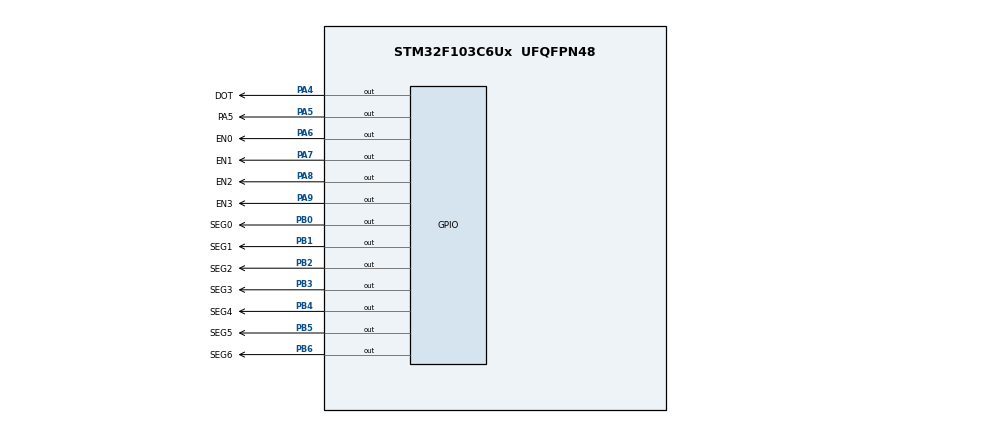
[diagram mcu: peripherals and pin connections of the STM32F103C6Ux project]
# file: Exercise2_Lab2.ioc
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Mcu.Family=STM32F1
Mcu.Name=STM32F103C6Ux
Mcu.Package=UFQFPN48
NVIC.PriorityGroup=NVIC_PRIORITYGROUP_4
NVIC.TIM2_IRQn=true\:0\:0\:false\:false\:true\:true\:true
PA4.GPIO_Label=DOT
PA4.Signal=GPIO_Output
PA5.GPIO_Label=PA5
PA5.Signal=GPIO_Output
PA6.GPIO_Label=EN0
PA6.Signal=GPIO_Output
PA7.GPIO_Label=EN1
PA7.Signal=GPIO_Output
PA8.GPIO_Label=EN2
PA8.Signal=GPIO_Output
PA9.GPIO_Label=EN3
PA9.Signal=GPIO_Output
PB0.GPIO_Label=SEG0
PB0.Signal=GPIO_Output
PB0.Stacked=true
PB1.GPIO_Label=SEG1
PB1.Signal=GPIO_Output
PB2.GPIO_Label=SEG2
PB2.Signal=GPIO_Output
PB3.GPIO_Label=SEG3
PB3.Signal=GPIO_Output
PB4.GPIO_Label=SEG4
PB4.Signal=GPIO_Output
PB5.GPIO_Label=SEG5
PB5.Signal=GPIO_Output
PB6.GPIO_Label=SEG6
PB6.Signal=GPIO_Output
ProjectManager.HeapSize=0x200
ProjectManager.StackSize=0x400
ProjectManager.TargetToolchain=STM32CubeIDE
RCC.APB1Freq_Value=8000000
RCC.APB2Freq_Value=8000000
TIM2.Period=10
TIM2.Prescaler=7999
VP_SYS_VS_ND.Mode=No_Debug
VP_TIM2_VS_ClockSourceINT.Mode=Internal
board=custom

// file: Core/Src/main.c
/* USER CODE BEGIN Header */
/**
  ******************************************************************************
  * @file           : main.c
  * @brief          : Main program body
  ******************************************************************************
  * @attention
  *
  * <h2><center>&copy; Copyright (c) 2022 STMicroelectronics.
  * All rights reserved.</center></h2>
  *
  * This software component is licensed by ST under BSD 3-Clause license,
  * the "License"; You may not use this file except in compliance with the
  * License. You may obtain a copy of the License at:
  *                        opensource.org/licenses/BSD-3-Clause
  *
  ******************************************************************************
  */
/* USER CODE END Header */
#include "main.h"

TIM_HandleTypeDef htim2;

void SystemClock_Config(void);
static void MX_GPIO_Init(void);
static void MX_TIM2_Init(void);

/* USER CODE BEGIN 0 */
void display7SEG(int num, GPIO_TypeDef* GPIOx, uint16_t start_index){
	__IO uint16_t temp;
	switch(num){
	case 0:
		temp = 0b1000000;
		break;
	case 1:
		temp = 0b1111001;
		break;
	case 2:
		temp = 0b0100100;
		break;
	case 3:
		temp = 0b0110000;
		break;
	case 4:
		temp = 0b0011001;
		break;
	case 5:
		temp = 0b0010010;
		break;
	case 6:
		temp = 0b0000010;
		break;
	case 7:
		temp = 0b1111000;
		break;
	case 8:
		temp = 0b0;
		break;
	case 9:
		temp = 0b0010000;
		break;
	default:
		temp = !0b0;
		break;
	}
	uint16_t bitmask = 0b1111111 << start_index ;
	GPIOx->ODR = (GPIOx->ODR & ~bitmask) | (temp << start_index);
}
/* USER CODE END 0 */

int main(void)
{

  /* MCU Configuration--------------------------------------------------------*/

  /* Reset of all peripherals, Initializes the Flash interface and the Systick. */
  HAL_Init();

  /* Configure the system clock */
  SystemClock_Config();

  /* Initialize all configured peripherals */
  MX_GPIO_Init();
  MX_TIM2_Init();
  /* USER CODE BEGIN 2 */
  	HAL_TIM_Base_Start_IT(&htim2);
    HAL_GPIO_TogglePin(GPIOA, EN1_Pin);
    HAL_GPIO_TogglePin(GPIOA, EN2_Pin);
    HAL_GPIO_TogglePin(GPIOA, EN3_Pin);
  /* USER CODE END 2 */

  /* Infinite loop */
  while (1)
  {

  }
}

void SystemClock_Config(void)
{
  RCC_OscInitTypeDef RCC_OscInitStruct = {0};
  RCC_ClkInitTypeDef RCC_ClkInitStruct = {0};

  /** Initializes the RCC Oscillators according to the specified parameters
  * in the RCC_OscInitTypeDef structure.
  */
  RCC_OscInitStruct.OscillatorType = RCC_OSCILLATORTYPE_HSI;
  RCC_OscInitStruct.HSIState = RCC_HSI_ON;
  RCC_OscInitStruct.HSICalibrationValue = RCC_HSICALIBRATION_DEFAULT;
  RCC_OscInitStruct.PLL.PLLState = RCC_PLL_NONE;
  if (HAL_RCC_OscConfig(&RCC_OscInitStruct) != HAL_OK)
  {
    Error_Handler();
  }
  /** Initializes the CPU, AHB and APB buses clocks
  */
  RCC_ClkInitStruct.ClockType = RCC_CLOCKTYPE_HCLK|RCC_CLOCKTYPE_SYSCLK
                              |RCC_CLOCKTYPE_PCLK1|RCC_CLOCKTYPE_PCLK2;
  RCC_ClkInitStruct.SYSCLKSource = RCC_SYSCLKSOURCE_HSI;
  RCC_ClkInitStruct.AHBCLKDivider = RCC_SYSCLK_DIV1;
  RCC_ClkInitStruct.APB1CLKDivider = RCC_HCLK_DIV1;
  RCC_ClkInitStruct.APB2CLKDivider = RCC_HCLK_DIV1;

  if (HAL_RCC_ClockConfig(&RCC_ClkInitStruct, FLASH_LATENCY_0) != HAL_OK)
  {
    Error_Handler();
  }
}

static void MX_TIM2_Init(void)
{

  TIM_ClockConfigTypeDef sClockSourceConfig = {0};
  TIM_MasterConfigTypeDef sMasterConfig = {0};

  htim2.Instance = TIM2;
  htim2.Init.Prescaler = 7999;
  htim2.Init.CounterMode = TIM_COUNTERMODE_UP;
  htim2.Init.Period = 10;
  htim2.Init.ClockDivision = TIM_CLOCKDIVISION_DIV1;
  htim2.Init.AutoReloadPreload = TIM_AUTORELOAD_PRELOAD_DISABLE;
  if (HAL_TIM_Base_Init(&htim2) != HAL_OK)
  {
    Error_Handler();
  }
  sClockSourceConfig.ClockSource = TIM_CLOCKSOURCE_INTERNAL;
  if (HAL_TIM_ConfigClockSource(&htim2, &sClockSourceConfig) != HAL_OK)
  {
    Error_Handler();
  }
  sMasterConfig.MasterOutputTrigger = TIM_TRGO_RESET;
  sMasterConfig.MasterSlaveMode = TIM_MASTERSLAVEMODE_DISABLE;
  if (HAL_TIMEx_MasterConfigSynchronization(&htim2, &sMasterConfig) != HAL_OK)
  {
    Error_Handler();
  }

}

static void MX_GPIO_Init(void)
{
  GPIO_InitTypeDef GPIO_InitStruct = {0};

  /* GPIO Ports Clock Enable */
  __HAL_RCC_GPIOA_CLK_ENABLE();
  __HAL_RCC_GPIOB_CLK_ENABLE();

  /*Configure GPIO pin Output Level */
  HAL_GPIO_WritePin(GPIOA, DOT_Pin|PA5_Pin|EN0_Pin|EN1_Pin
                          |EN2_Pin|EN3_Pin, GPIO_PIN_RESET);

  /*Configure GPIO pin Output Level */
  HAL_GPIO_WritePin(GPIOB, SEG0_Pin|SEG1_Pin|SEG2_Pin|SEG3_Pin
                          |SEG4_Pin|SEG5_Pin|SEG6_Pin, GPIO_PIN_RESET);

  /*Configure GPIO pins : DOT_Pin PA5_Pin EN0_Pin EN1_Pin
                           EN2_Pin EN3_Pin */
  GPIO_InitStruct.Pin = DOT_Pin|PA5_Pin|EN0_Pin|EN1_Pin
                          |EN2_Pin|EN3_Pin;
  GPIO_InitStruct.Mode = GPIO_MODE_OUTPUT_PP;
  GPIO_InitStruct.Pull = GPIO_NOPULL;
  GPIO_InitStruct.Speed = GPIO_SPEED_FREQ_LOW;
  HAL_GPIO_Init(GPIOA, &GPIO_InitStruct);

  /*Configure GPIO pins : SEG0_Pin SEG1_Pin SEG2_Pin SEG3_Pin
                           SEG4_Pin SEG5_Pin SEG6_Pin */
  GPIO_InitStruct.Pin = SEG0_Pin|SEG1_Pin|SEG2_Pin|SEG3_Pin
                          |SEG4_Pin|SEG5_Pin|SEG6_Pin;
  GPIO_InitStruct.Mode = GPIO_MODE_OUTPUT_PP;
  GPIO_InitStruct.Pull = GPIO_NOPULL;
  GPIO_InitStruct.Speed = GPIO_SPEED_FREQ_LOW;
  HAL_GPIO_Init(GPIOB, &GPIO_InitStruct);

}

/* USER CODE BEGIN 4 */
int counter2 = 200;
int counter1 = 100;
int num = 1;
void HAL_TIM_PeriodElapsedCallback (TIM_HandleTypeDef * htim){

	counter1--;
	if (counter1 == 0){
		counter1 = 100;
		HAL_GPIO_TogglePin(GPIOA, PA5_Pin);
		HAL_GPIO_TogglePin(GPIOA, DOT_Pin);
	}

	counter2--;
	if (counter2 == 0){
			counter2 = 200;
		}
	if (counter2 == 200){
		num = 1;
		HAL_GPIO_TogglePin(GPIOA, EN3_Pin);
		HAL_GPIO_TogglePin(GPIOA, EN0_Pin);
	}
	if (counter2 == 150){
		num = 2;
		HAL_GPIO_TogglePin(GPIOA, EN0_Pin);
		HAL_GPIO_TogglePin(GPIOA, EN1_Pin);
	}
	if (counter2 == 100){
		num = 3;
		HAL_GPIO_TogglePin(GPIOA, EN1_Pin);
		HAL_GPIO_TogglePin(GPIOA, EN2_Pin);
	}
	if (counter2 == 50){
		num = 0;
		HAL_GPIO_TogglePin(GPIOA, EN2_Pin);
		HAL_GPIO_TogglePin(GPIOA, EN3_Pin);
	}

	display7SEG(num, GPIOB, 0);
}
/* USER CODE END 4 */

void Error_Handler(void)
{
  __disable_irq();
  while (1)
  {
  }
}

/************************ (C) COPYRIGHT STMicroelectronics *****END OF FILE****/
